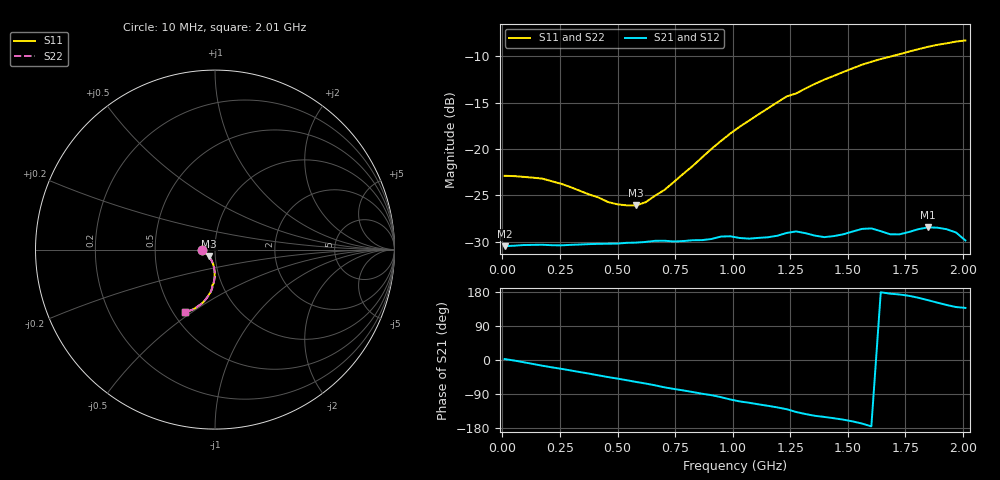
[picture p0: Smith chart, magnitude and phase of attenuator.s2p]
# MHz S MA R 50
!  freq  S11  S21  S12  S22
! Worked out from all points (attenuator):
!   50 points, 10 MHz to 2.01 GHz, reference 50 ohm
!   highest |S21| = -28.46 dB at 1.847 GHz (marker M1); lowest = -30.5 dB at 10 MHz (marker M2)
!   lowest |S11| = -26.1 dB at 581.4 MHz (marker M3), VSWR 1.10, Z = 46.6 - j3.42 ohm
!   |S11| at or under -10 dB: start of sweep to 1.686 GHz
!   |S22| runs from -26.0 to -8.3 dB; largest |S21 - S12| = 0.00017
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10  0.07176 -179.9  0.02992 2.6  0.02994 2.6  0.07178 -179.8
173.2653  0.06931 -174.5  0.03045 -15.0  0.03046 -15.1  0.06938 -174.4
377.3469  0.05688 -163.2  0.0307 -36.0  0.03067 -36.0  0.05707 -162.9
499.7959  0.05035 -147.5  0.0309 -49.1  0.03086 -49.2  0.05064 -147.4
581.4286  0.04965 -132.6  0.03127 -57.9  0.03127 -57.9  0.05001 -132.6
622.2449  0.05168 -124.5  0.03154 -62.1  0.03153 -62.1  0.05203 -124.7
703.8776  0.06021 -110.7  0.032 -72.1  0.03198 -72.2  0.06052 -110.7
867.1429  0.09025 -95.0  0.03226 -89.0  0.03227 -89.1  0.09068 -95.0
948.7755  0.1105 -92.0  0.03372 -98.0  0.03373 -98.0  0.1107 -92.0
1030.408  0.1321 -90.8  0.03312 -109.3  0.03314 -109.3  0.1322 -90.9
1152.857  0.166 -91.2  0.03343 -120.9  0.03344 -120.9  0.166 -91.2
1234.49  0.1926 -92.8  0.03527 -129.9  0.03523 -129.9  0.1927 -92.9
1275.306  0.1998 -94.4  0.03594 -137.2  0.03577 -137.2  0.1996 -94.4
1356.939  0.2251 -94.8  0.03411 -147.2  0.03414 -147.3  0.225 -94.9
1438.571  0.2484 -97.1  0.03391 -153.6  0.03391 -153.7  0.2485 -97.2
1601.837  0.2961 -102.2  0.03731 -175.1  0.03724 -175.1  0.296 -102.3
1683.469  0.3156 -104.8  0.03468 175.0  0.03465 175.0  0.3163 -104.7
1724.286  0.3253 -106.0  0.03466 172.8  0.03468 172.7  0.3252 -106.2
1846.735  0.3565 -110.4  0.03776 157.9  0.03773 157.9  0.3566 -110.4
1928.367  0.3724 -113.0  0.03694 145.2  0.03693 145.0  0.3724 -113.1
1969.184  0.3806 -114.2  0.03548 139.8  0.03541 139.6  0.3808 -114.3
2010  0.386 -115.7  0.03213 137.4  0.03206 137.3  0.386 -115.9
